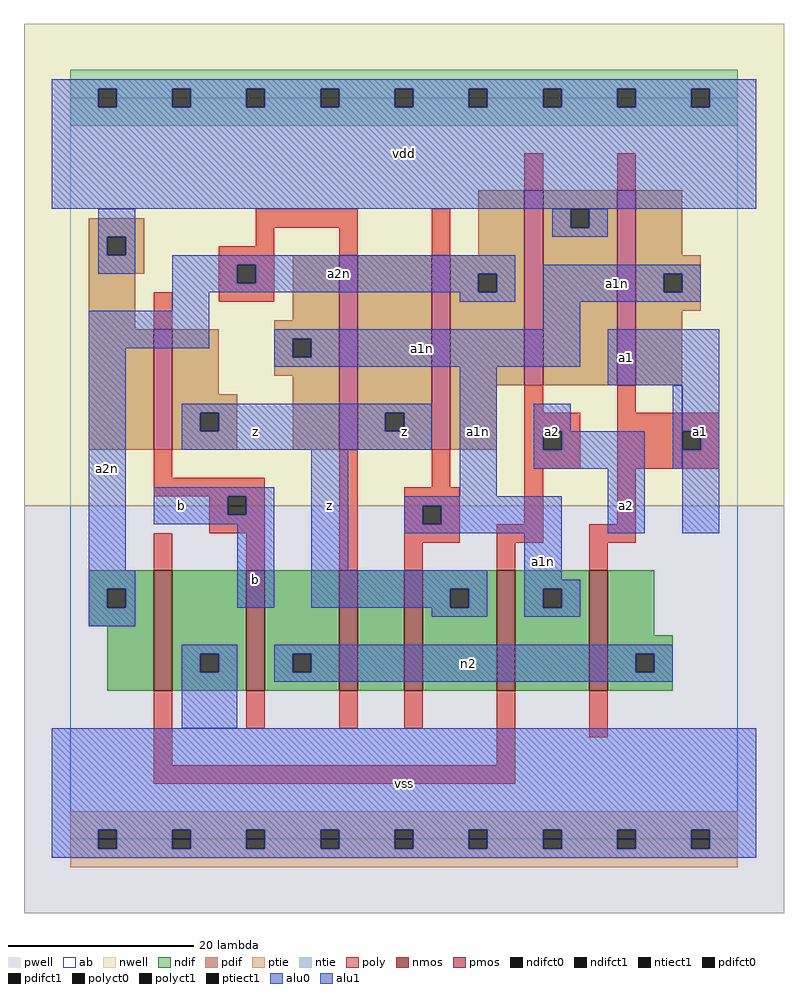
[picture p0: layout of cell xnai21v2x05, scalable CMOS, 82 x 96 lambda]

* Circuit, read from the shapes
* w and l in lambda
.subckt xnai21v2x05 a1 a1n a2 a2n b n2 vdd vss z
M1 vss a2 a2n vss nfet w=13 l=2
M2 n2 b vss vss nfet w=13 l=2
M3 n1 a2n n2 vss nfet w=13 l=2
M4 z a1n n1 vss nfet w=13 l=2
M5 a1n a2 z vss nfet w=13 l=2
M6 n2 a1 a1n vss nfet w=13 l=2
M7 z b vdd vdd pfet w=13 l=2
M8 z a2n a1n vdd pfet w=21 l=2
M9 a2n a1n z vdd pfet w=21 l=2
M10 vdd a2 a2n vdd pfet w=21 l=2
M11 a1n a1 vdd vdd pfet w=21 l=2
.ends

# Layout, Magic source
magic
tech scmos
<< ab >>
rect 0 0 72 80
<< nwell >>
rect -5 36 77 88
<< pwell >>
rect -5 -8 77 36
<< poly >>
rect 49 70 51 74
rect 59 70 61 74
rect 20 66 31 68
rect 20 64 22 66
rect 16 62 22 64
rect 29 63 31 66
rect 39 63 41 68
rect 16 60 18 62
rect 20 60 22 62
rect 9 55 11 59
rect 16 58 22 60
rect 49 46 51 49
rect 59 46 61 49
rect 49 44 55 46
rect 49 42 51 44
rect 53 42 55 44
rect 9 39 11 42
rect 9 37 21 39
rect 15 35 17 37
rect 19 35 21 37
rect 15 33 21 35
rect 9 29 11 33
rect 19 29 21 33
rect 29 29 31 42
rect 39 38 41 42
rect 49 40 55 42
rect 59 44 70 46
rect 59 42 66 44
rect 68 42 70 44
rect 59 40 70 42
rect 36 36 42 38
rect 36 34 38 36
rect 40 34 42 36
rect 49 34 51 40
rect 59 34 61 40
rect 36 32 42 34
rect 46 32 51 34
rect 56 32 61 34
rect 36 29 38 32
rect 46 29 48 32
rect 56 29 58 32
rect 9 8 11 16
rect 19 12 21 16
rect 29 12 31 16
rect 36 12 38 16
rect 46 8 48 16
rect 56 11 58 16
rect 9 6 48 8
<< ndif >>
rect 2 27 9 29
rect 2 25 4 27
rect 6 25 9 27
rect 2 23 9 25
rect 4 16 9 23
rect 11 20 19 29
rect 11 18 14 20
rect 16 18 19 20
rect 11 16 19 18
rect 21 20 29 29
rect 21 18 24 20
rect 26 18 29 20
rect 21 16 29 18
rect 31 16 36 29
rect 38 27 46 29
rect 38 25 41 27
rect 43 25 46 27
rect 38 16 46 25
rect 48 27 56 29
rect 48 25 51 27
rect 53 25 56 27
rect 48 16 56 25
rect 58 22 63 29
rect 58 20 65 22
rect 58 18 61 20
rect 63 18 65 20
rect 58 16 65 18
<< pdif >>
rect 2 65 8 67
rect 2 63 4 65
rect 6 63 8 65
rect 2 61 8 63
rect 44 63 49 70
rect 2 55 7 61
rect 24 56 29 63
rect 2 42 9 55
rect 11 48 16 55
rect 22 54 29 56
rect 22 52 24 54
rect 26 52 29 54
rect 22 50 29 52
rect 11 46 18 48
rect 11 44 14 46
rect 16 44 18 46
rect 11 42 18 44
rect 24 42 29 50
rect 31 46 39 63
rect 31 44 34 46
rect 36 44 39 46
rect 31 42 39 44
rect 41 61 49 63
rect 41 59 44 61
rect 46 59 49 61
rect 41 49 49 59
rect 51 68 59 70
rect 51 66 54 68
rect 56 66 59 68
rect 51 49 59 66
rect 61 63 66 70
rect 61 61 68 63
rect 61 59 64 61
rect 66 59 68 61
rect 61 57 68 59
rect 61 49 66 57
rect 41 42 46 49
<< alu1 >>
rect -2 81 74 82
rect -2 79 3 81
rect 5 79 11 81
rect 13 79 19 81
rect 21 79 27 81
rect 29 79 35 81
rect 37 79 43 81
rect 45 79 51 81
rect 53 79 59 81
rect 61 79 67 81
rect 69 79 74 81
rect -2 68 74 79
rect 12 46 39 47
rect 12 44 14 46
rect 16 44 34 46
rect 36 44 39 46
rect 12 42 39 44
rect 9 37 22 38
rect 9 35 17 37
rect 19 35 22 37
rect 9 34 22 35
rect 18 25 22 34
rect 26 29 30 42
rect 58 49 70 55
rect 50 44 54 47
rect 50 42 51 44
rect 53 42 62 44
rect 50 40 62 42
rect 66 44 70 49
rect 68 42 70 44
rect 58 33 62 40
rect 66 33 70 42
rect 26 27 45 29
rect 26 25 41 27
rect 43 25 45 27
rect 39 24 45 25
rect -2 1 74 12
rect -2 -1 3 1
rect 5 -1 11 1
rect 13 -1 19 1
rect 21 -1 27 1
rect 29 -1 35 1
rect 37 -1 43 1
rect 45 -1 51 1
rect 53 -1 59 1
rect 61 -1 67 1
rect 69 -1 74 1
rect -2 -2 74 -1
<< ptie >>
rect 0 1 72 3
rect 0 -1 3 1
rect 5 -1 11 1
rect 13 -1 19 1
rect 21 -1 27 1
rect 29 -1 35 1
rect 37 -1 43 1
rect 45 -1 51 1
rect 53 -1 59 1
rect 61 -1 67 1
rect 69 -1 72 1
rect 0 -3 72 -1
<< ntie >>
rect 0 81 72 83
rect 0 79 3 81
rect 5 79 11 81
rect 13 79 19 81
rect 21 79 27 81
rect 29 79 35 81
rect 37 79 43 81
rect 45 79 51 81
rect 53 79 59 81
rect 61 79 67 81
rect 69 79 72 81
rect 0 77 72 79
<< nmos >>
rect 9 16 11 29
rect 19 16 21 29
rect 29 16 31 29
rect 36 16 38 29
rect 46 16 48 29
rect 56 16 58 29
<< pmos >>
rect 9 42 11 55
rect 29 42 31 63
rect 39 42 41 63
rect 49 49 51 70
rect 59 49 61 70
<< polyct0 >>
rect 18 60 20 62
rect 38 34 40 36
<< polyct1 >>
rect 51 42 53 44
rect 17 35 19 37
rect 66 42 68 44
<< ndifct0 >>
rect 4 25 6 27
rect 14 18 16 20
rect 24 18 26 20
rect 51 25 53 27
rect 61 18 63 20
<< ndifct1 >>
rect 41 25 43 27
<< ntiect1 >>
rect 3 79 5 81
rect 11 79 13 81
rect 19 79 21 81
rect 27 79 29 81
rect 35 79 37 81
rect 43 79 45 81
rect 51 79 53 81
rect 59 79 61 81
rect 67 79 69 81
<< ptiect1 >>
rect 3 -1 5 1
rect 11 -1 13 1
rect 19 -1 21 1
rect 27 -1 29 1
rect 35 -1 37 1
rect 43 -1 45 1
rect 51 -1 53 1
rect 59 -1 61 1
rect 67 -1 69 1
<< pdifct0 >>
rect 4 63 6 65
rect 24 52 26 54
rect 44 59 46 61
rect 54 66 56 68
rect 64 59 66 61
<< pdifct1 >>
rect 14 44 16 46
rect 34 44 36 46
<< alu0 >>
rect 3 65 7 68
rect 52 66 54 68
rect 56 66 58 68
rect 52 65 58 66
rect 3 63 4 65
rect 6 63 7 65
rect 3 61 7 63
rect 11 62 48 63
rect 11 60 18 62
rect 20 61 48 62
rect 20 60 44 61
rect 11 59 44 60
rect 46 59 48 61
rect 11 57 15 59
rect 42 58 48 59
rect 51 61 68 62
rect 51 59 64 61
rect 66 59 68 61
rect 51 58 68 59
rect 2 53 15 57
rect 51 55 55 58
rect 22 54 55 55
rect 2 29 6 53
rect 22 52 24 54
rect 26 52 55 54
rect 22 51 55 52
rect 2 27 7 29
rect 2 25 4 27
rect 6 25 7 27
rect 42 37 46 51
rect 65 40 66 49
rect 36 36 53 37
rect 36 34 38 36
rect 40 34 53 36
rect 36 33 53 34
rect 2 23 7 25
rect 49 28 53 33
rect 49 27 55 28
rect 49 25 51 27
rect 53 25 55 27
rect 49 24 55 25
rect 12 20 18 21
rect 12 18 14 20
rect 16 18 18 20
rect 12 12 18 18
rect 22 20 65 21
rect 22 18 24 20
rect 26 18 61 20
rect 63 18 65 20
rect 22 17 65 18
<< labels >>
rlabel alu0 4 40 4 40 6 a2n
rlabel alu0 51 30 51 30 6 a1n
rlabel alu0 44 44 44 44 6 a1n
rlabel alu0 29 61 29 61 6 a2n
rlabel alu0 43 19 43 19 6 n2
rlabel alu0 38 53 38 53 6 a1n
rlabel alu0 59 60 59 60 6 a1n
rlabel alu1 12 36 12 36 6 b
rlabel alu1 20 28 20 28 6 b
rlabel alu1 28 36 28 36 6 z
rlabel alu1 20 44 20 44 6 z
rlabel alu1 36 6 36 6 6 vss
rlabel alu1 52 44 52 44 6 a2
rlabel alu1 36 44 36 44 6 z
rlabel alu1 36 74 36 74 6 vdd
rlabel alu1 60 36 60 36 6 a2
rlabel alu1 68 44 68 44 6 a1
rlabel alu1 60 52 60 52 6 a1
<< end >>
